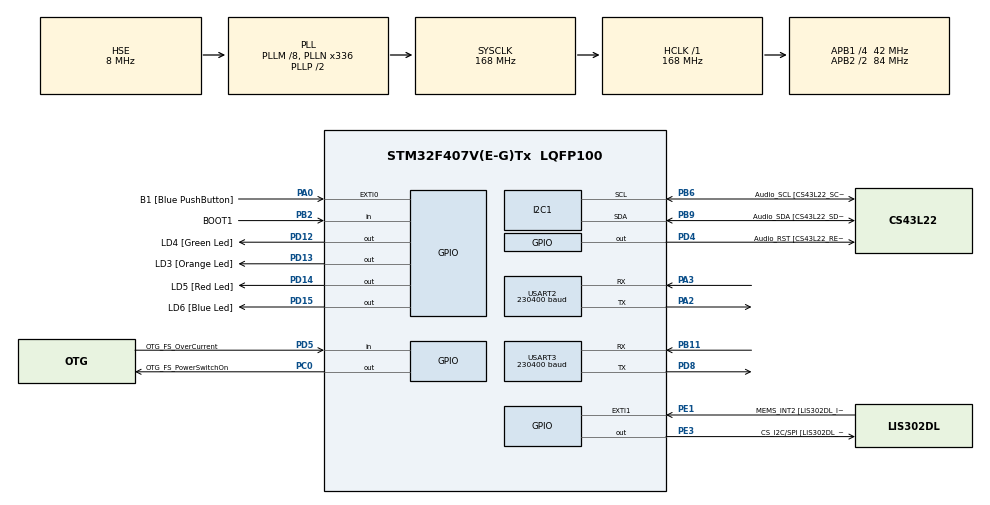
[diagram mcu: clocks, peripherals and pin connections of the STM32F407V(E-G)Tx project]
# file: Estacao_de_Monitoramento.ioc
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I2C1.I2C_Mode=I2C_Fast
Mcu.Family=STM32F4
Mcu.Name=STM32F407V(E-G)Tx
Mcu.Package=LQFP100
NVIC.EXTI0_IRQn=true\:0\:0\:false\:false\:true\:true\:true\:true
NVIC.PriorityGroup=NVIC_PRIORITYGROUP_0
NVIC.TIM2_IRQn=true\:0\:0\:false\:false\:true\:true\:true\:true
NVIC.USART2_IRQn=true\:0\:0\:false\:false\:true\:true\:true\:true
NVIC.USART3_IRQn=true\:0\:0\:false\:false\:true\:true\:true\:true
PA0-WKUP.GPIO_Label=B1 [Blue PushButton]
PA0-WKUP.GPIO_ModeDefaultEXTI=GPIO_MODE_IT_RISING
PA0-WKUP.GPIO_PuPd=GPIO_NOPULL
PA0-WKUP.Signal=GPXTI0
PA10.GPIO_Label=OTG_FS_ID
PA10.GPIO_Mode=GPIO_MODE_AF_PP
PA10.GPIO_PuPd=GPIO_NOPULL
PA10.GPIO_Speed=GPIO_SPEED_FREQ_LOW
PA10.Signal=USB_OTG_FS_ID
PA11.GPIO_Label=OTG_FS_DM
PA11.GPIO_Mode=GPIO_MODE_AF_PP
PA11.GPIO_PuPd=GPIO_NOPULL
PA11.GPIO_Speed=GPIO_SPEED_FREQ_LOW
PA11.Signal=USB_OTG_FS_DM
PA12.GPIO_Label=OTG_FS_DP
PA12.GPIO_Mode=GPIO_MODE_AF_PP
PA12.GPIO_PuPd=GPIO_NOPULL
PA12.GPIO_Speed=GPIO_SPEED_FREQ_LOW
PA12.Signal=USB_OTG_FS_DP
PA13.GPIO_Label=SWDIO
PA13.Mode=Serial_Wire
PA13.Signal=SYS_JTMS-SWDIO
PA14.GPIO_Label=SWCLK
PA14.Mode=Serial_Wire
PA14.Signal=SYS_JTCK-SWCLK
PA2.Mode=Asynchronous
PA2.Signal=USART2_TX
PA3.Mode=Asynchronous
PA3.Signal=USART2_RX
PA4.GPIO_Label=I2S3_WS [CS43L22_LRCK]
PA4.GPIO_Mode=GPIO_MODE_AF_PP
PA4.GPIO_PuPd=GPIO_NOPULL
PA4.GPIO_Speed=GPIO_SPEED_FREQ_LOW
PA4.Signal=I2S3_WS
PA5.GPIO_Label=SPI1_SCK [LIS302DL_SCL/SPC]
PA5.GPIO_Mode=GPIO_MODE_AF_PP
PA5.GPIO_PuPd=GPIO_NOPULL
PA5.GPIO_Speed=GPIO_SPEED_FREQ_LOW
PA5.Signal=SPI1_SCK
PA6.GPIO_Label=SPI1_MISO [LIS302DL_SDO]
PA6.GPIO_Mode=GPIO_MODE_AF_PP
PA6.GPIO_PuPd=GPIO_NOPULL
PA6.GPIO_Speed=GPIO_SPEED_FREQ_LOW
PA6.Signal=SPI1_MISO
PA7.GPIO_Label=SPI1_MOSI [LIS302DL_SDA/SDI/SDO]
PA7.GPIO_Mode=GPIO_MODE_AF_PP
PA7.GPIO_PuPd=GPIO_NOPULL
PA7.GPIO_Speed=GPIO_SPEED_FREQ_LOW
PA7.Signal=SPI1_MOSI
PA9.GPIO_Label=VBUS_FS
PA9.GPIO_Mode=GPIO_MODE_INPUT
PA9.GPIO_PuPd=GPIO_NOPULL
PA9.Signal=USB_OTG_FS_VBUS
PB10.GPIO_Label=CLK_IN [MP45DT02_CLK]
PB10.GPIO_Mode=GPIO_MODE_AF_PP
PB10.GPIO_PuPd=GPIO_NOPULL
PB10.GPIO_Speed=GPIO_SPEED_FREQ_LOW
PB10.Signal=I2S2_CK
PB11.Mode=Asynchronous
PB11.Signal=USART3_RX
PB2.GPIO_Label=BOOT1
PB2.GPIO_Mode=GPIO_MODE_INPUT
PB2.GPIO_PuPd=GPIO_NOPULL
PB2.Signal=GPIO_Input
PB3.GPIO_Label=SWO
PB3.Signal=SYS_JTDO-SWO
PB6.GPIO_Label=Audio_SCL [CS43L22_SCL]
PB6.GPIO_Mode=GPIO_MODE_AF_OD
PB6.GPIO_Pu=GPIO_PULLUP
PB6.GPIO_PuPd=GPIO_NOPULL
PB6.GPIO_Speed=GPIO_SPEED_FREQ_LOW
PB6.Mode=I2C
PB6.Signal=I2C1_SCL
PB9.GPIO_Label=Audio_SDA [CS43L22_SDA]
PB9.GPIO_Mode=GPIO_MODE_AF_OD
PB9.GPIO_Pu=GPIO_PULLUP
PB9.GPIO_PuPd=GPIO_NOPULL
PB9.GPIO_Speed=GPIO_SPEED_FREQ_LOW
PB9.Mode=I2C
PB9.Signal=I2C1_SDA
PC0.GPIO_Label=OTG_FS_PowerSwitchOn
PC0.GPIO_PuPd=GPIO_NOPULL
PC0.GPIO_Speed=GPIO_SPEED_FREQ_LOW
PC0.PinState=GPIO_PIN_SET
PC0.Signal=GPIO_Output
PC10.GPIO_Label=I2S3_SCK [CS43L22_SCLK]
PC10.GPIO_Mode=GPIO_MODE_AF_PP
PC10.GPIO_PuPd=GPIO_NOPULL
PC10.GPIO_Speed=GPIO_SPEED_FREQ_LOW
PC10.Signal=I2S3_CK
PC12.GPIO_Label=I2S3_SD [CS43L22_SDIN]
PC12.GPIO_Mode=GPIO_MODE_AF_PP
PC12.GPIO_PuPd=GPIO_NOPULL
PC12.GPIO_Speed=GPIO_SPEED_FREQ_LOW
PC12.Signal=I2S3_SD
PC14-OSC32_IN.GPIO_Label=PC14-OSC32_IN
PC14-OSC32_IN.Mode=LSE-External-Oscillator
PC14-OSC32_IN.Signal=RCC_OSC32_IN
PC15-OSC32_OUT.GPIO_Label=PC15-OSC32_OUT
PC15-OSC32_OUT.Mode=LSE-External-Oscillator
PC15-OSC32_OUT.Signal=RCC_OSC32_OUT
PC3.GPIO_Label=PDM_OUT [MP45DT02_DOUT]
PC3.GPIO_Mode=GPIO_MODE_AF_PP
PC3.GPIO_PuPd=GPIO_NOPULL
PC3.GPIO_Speed=GPIO_SPEED_FREQ_LOW
PC3.Signal=I2S2_SD
PC7.GPIO_Label=I2S3_MCK [CS43L22_MCLK]
PC7.GPIO_Mode=GPIO_MODE_AF_PP
PC7.GPIO_PuPd=GPIO_NOPULL
PC7.GPIO_Speed=GPIO_SPEED_FREQ_LOW
PC7.Signal=I2S3_MCK
PD12.GPIO_Label=LD4 [Green Led]
PD12.GPIO_PuPd=GPIO_NOPULL
PD12.GPIO_Speed=GPIO_SPEED_FREQ_LOW
PD12.Signal=GPIO_Output
PD13.GPIO_Label=LD3 [Orange Led]
PD13.GPIO_PuPd=GPIO_NOPULL
PD13.GPIO_Speed=GPIO_SPEED_FREQ_LOW
PD13.Signal=GPIO_Output
PD14.GPIO_Label=LD5 [Red Led]
PD14.GPIO_PuPd=GPIO_NOPULL
PD14.GPIO_Speed=GPIO_SPEED_FREQ_LOW
PD14.Signal=GPIO_Output
PD15.GPIO_Label=LD6 [Blue Led]
PD15.GPIO_PuPd=GPIO_NOPULL
PD15.GPIO_Speed=GPIO_SPEED_FREQ_LOW
PD15.Signal=GPIO_Output
PD4.GPIO_Label=Audio_RST [CS43L22_RESET]
PD4.GPIO_PuPd=GPIO_NOPULL
PD4.GPIO_Speed=GPIO_SPEED_FREQ_LOW
PD4.Signal=GPIO_Output
PD5.GPIO_Label=OTG_FS_OverCurrent
PD5.GPIO_Mode=GPIO_MODE_INPUT
PD5.GPIO_PuPd=GPIO_NOPULL
PD5.Signal=GPIO_Input
PD8.Mode=Asynchronous
PD8.Signal=USART3_TX
PE1.GPIO_Label=MEMS_INT2 [LIS302DL_INT2]
PE1.GPIO_ModeDefaultEXTI=GPIO_MODE_EVT_RISING
PE1.GPIO_PuPd=GPIO_NOPULL
PE1.Signal=GPXTI1
PE3.GPIO_Label=CS_I2C/SPI [LIS302DL_CS_I2C/SPI]
PE3.GPIO_PuPd=GPIO_NOPULL
PE3.GPIO_Speed=GPIO_SPEED_FREQ_LOW
PE3.Signal=GPIO_Output
PH0-OSC_IN.GPIO_Label=PH0-OSC_IN
PH0-OSC_IN.Mode=HSE-External-Oscillator
PH0-OSC_IN.Signal=RCC_OSC_IN
PH1-OSC_OUT.GPIO_Label=PH1-OSC_OUT
PH1-OSC_OUT.Mode=HSE-External-Oscillator
PH1-OSC_OUT.Signal=RCC_OSC_OUT
ProjectManager.HeapSize=0x200
ProjectManager.StackSize=0x400
ProjectManager.TargetToolchain=STM32CubeIDE
RCC.48MHZClocksFreq_Value=48000000
RCC.AHBFreq_Value=168000000
RCC.APB1CLKDivider=RCC_HCLK_DIV4
RCC.APB1Freq_Value=42000000
RCC.APB1TimFreq_Value=84000000
RCC.APB2CLKDivider=RCC_HCLK_DIV2
RCC.APB2Freq_Value=84000000
RCC.APB2TimFreq_Value=168000000
RCC.CortexFreq_Value=168000000
RCC.HCLKFreq_Value=168000000
RCC.HSE_VALUE=8000000
RCC.HSI_VALUE=16000000
RCC.PLLM=8
RCC.PLLN=336
RCC.PLLQ=7
RCC.PLLSourceVirtual=RCC_PLLSOURCE_HSE
RCC.SYSCLKFreq_VALUE=168000000
RCC.SYSCLKSource=RCC_SYSCLKSOURCE_PLLCLK
RCC.VCOOutputFreq_Value=336000000
TIM2.AutoReloadPreload=TIM_AUTORELOAD_PRELOAD_ENABLE
TIM2.Period=84000
TIM2.Prescaler=1000
USART2.BaudRate=230400
USART2.VirtualMode=VM_ASYNC
USART2.WordLength=WORDLENGTH_8B
USART3.BaudRate=230400
USART3.VirtualMode=VM_ASYNC
VP_TIM2_VS_ClockSourceINT.Mode=Internal
board=STM32F407G-DISC1

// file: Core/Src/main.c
/* USER CODE BEGIN Header */
/**
  ******************************************************************************
  * @file           : main.c
  * @brief          : Main program body
  ******************************************************************************
  * @attention
  *
  * Copyright (c) 2023 STMicroelectronics.
  * All rights reserved.
  *
  * This software is licensed under terms that can be found in the LICENSE file
  * in the root directory of this software component.
  * If no LICENSE file comes with this software, it is provided AS-IS.
  *
  ******************************************************************************
  */
/* USER CODE END Header */
#include "main.h"

/* USER CODE BEGIN Includes */
#include "mpu6050.h"
/* USER CODE END Includes */

I2C_HandleTypeDef hi2c1;

TIM_HandleTypeDef htim2;

UART_HandleTypeDef huart2;
UART_HandleTypeDef huart3;

/* USER CODE BEGIN PV */
uint32_t previousMillis = 0;
uint32_t currentMillis = 0;
MPU6050_t MPU6050;
uint8_t rx_uart2_buff[13] = {0}, rx_uart3_buff[13] = {0};
/* USER CODE END PV */

void SystemClock_Config(void);
static void MX_GPIO_Init(void);
static void MX_TIM2_Init(void);
static void MX_I2C1_Init(void);
static void MX_USART3_UART_Init(void);
static void MX_USART2_UART_Init(void);

/* USER CODE BEGIN 0 */
void HAL_TIM_PeriodElapsedCallback(TIM_HandleTypeDef* htim)
{
	Message_t msg;
	HAL_StatusTypeDef ret_val;
    HAL_GPIO_TogglePin(LD6_GPIO_Port, LD6_Pin);
	return;

    MPU6050_Read_Gyro(&hi2c1, &MPU6050);
    Prepare_Message(&msg, &MPU6050);
    Send_Message_via_UART(&msg, &huart2);
    Send_Message_via_UART(&msg, &huart3);

//    ret_val = Send_Message_via_UART(&msg, &huart3);
}

void HAL_GPIO_EXTI_Callback(uint16_t GPIO_Pin)
{
	Message_t msg = {0};
	HAL_StatusTypeDef ret_val;
	currentMillis = HAL_GetTick();
    if(GPIO_Pin == B1_Pin && (currentMillis - previousMillis > 250))
    {
    	HAL_GPIO_TogglePin(LD3_GPIO_Port, LD3_Pin); // Toggle The Output (LED) Pin
//    	MPU6050_Read_Temp(&hi2c1, &MPU6050);
		MPU6050_Read_Gyro(&hi2c1, &MPU6050);
		msg.id = 255;
		ret_val = Send_Message_via_UART(&msg, &huart2);
		ret_val = Send_Message_via_UART(&msg, &huart3);
		Prepare_Message(&msg, &MPU6050);
		ret_val = Send_Message_via_UART(&msg, &huart2);
    	previousMillis = currentMillis;
    }
}
void HAL_UART_RxCpltCallback(UART_HandleTypeDef *huart)
{
	//00001000
	Message_t msg;
	uint8_t id = 0;
//	HAL_UART_Receive_IT(huart, msg_buff, 13);

	if (huart == &huart2) {
		memcpy(&id, rx_uart2_buff, 1);
		if (id == 255) {
//				msg.id = 255;
//				Send_Message_via_UART(&msg, &huart3);
				MPU6050_Read_Gyro(&hi2c1, &MPU6050);
				Prepare_Message(&msg, &MPU6050);
				Send_Message_via_UART(&msg, &huart2);
			}

		HAL_UART_Transmit_IT(&huart3, rx_uart2_buff, 13);
		return;
	}

	memcpy(&id, rx_uart3_buff, 1);
	if (id == 255) { // Send msg back to requester
		MPU6050_Read_Gyro(&hi2c1, &MPU6050);
		Prepare_Message(&msg, &MPU6050);
		Send_Message_via_UART(&msg, &huart2);
	}

	HAL_UART_Transmit_IT(&huart2, rx_uart3_buff, 13);
	return;
}

//void HAL_UART_RxHalfCpltCallback(UART_HandleTypeDef *huart) {
//	int test = 0;
//}
/* USER CODE BEGIN 4 */

/* USER CODE END 4 */

/* USER CODE END 0 */

int main(void)
{

  /* MCU Configuration--------------------------------------------------------*/

  /* Reset of all peripherals, Initializes the Flash interface and the Systick. */
  HAL_Init();

  /* Configure the system clock */
  SystemClock_Config();

  /* Initialize all configured peripherals */
  MX_GPIO_Init();
  MX_TIM2_Init();
  MX_I2C1_Init();
  MX_USART3_UART_Init();
  MX_USART2_UART_Init();
  /* USER CODE BEGIN 2 */
  HAL_TIM_Base_Start_IT(&htim2);
  while (MPU6050_Init(&hi2c1) == 1);
  /* USER CODE END 2 */

  /* Infinite loop */
  /* USER CODE BEGIN WHILE */
  while (1)
  {

	  HAL_UART_Receive_IT(&huart2, rx_uart2_buff, 13);
	  HAL_UART_Receive_IT(&huart3, rx_uart3_buff, 13);
//	  uint8_t Test[] = "Hello World !!!\r\n"; //Data to send
//	  HAL_UART_Transmit(&huart2,Test,sizeof(Test),10);// Sending in normal mode
//	  HAL_Delay(1000);
    /* USER CODE END WHILE */

  }
}

void SystemClock_Config(void)
{
  RCC_OscInitTypeDef RCC_OscInitStruct = {0};
  RCC_ClkInitTypeDef RCC_ClkInitStruct = {0};

  /** Configure the main internal regulator output voltage
  */
  __HAL_RCC_PWR_CLK_ENABLE();
  __HAL_PWR_VOLTAGESCALING_CONFIG(PWR_REGULATOR_VOLTAGE_SCALE1);

  /** Initializes the RCC Oscillators according to the specified parameters
  * in the RCC_OscInitTypeDef structure.
  */
  RCC_OscInitStruct.OscillatorType = RCC_OSCILLATORTYPE_HSE;
  RCC_OscInitStruct.HSEState = RCC_HSE_ON;
  RCC_OscInitStruct.PLL.PLLState = RCC_PLL_ON;
  RCC_OscInitStruct.PLL.PLLSource = RCC_PLLSOURCE_HSE;
  RCC_OscInitStruct.PLL.PLLM = 8;
  RCC_OscInitStruct.PLL.PLLN = 336;
  RCC_OscInitStruct.PLL.PLLP = RCC_PLLP_DIV2;
  RCC_OscInitStruct.PLL.PLLQ = 7;
  if (HAL_RCC_OscConfig(&RCC_OscInitStruct) != HAL_OK)
  {
    Error_Handler();
  }

  /** Initializes the CPU, AHB and APB buses clocks
  */
  RCC_ClkInitStruct.ClockType = RCC_CLOCKTYPE_HCLK|RCC_CLOCKTYPE_SYSCLK
                              |RCC_CLOCKTYPE_PCLK1|RCC_CLOCKTYPE_PCLK2;
  RCC_ClkInitStruct.SYSCLKSource = RCC_SYSCLKSOURCE_PLLCLK;
  RCC_ClkInitStruct.AHBCLKDivider = RCC_SYSCLK_DIV1;
  RCC_ClkInitStruct.APB1CLKDivider = RCC_HCLK_DIV4;
  RCC_ClkInitStruct.APB2CLKDivider = RCC_HCLK_DIV2;

  if (HAL_RCC_ClockConfig(&RCC_ClkInitStruct, FLASH_LATENCY_5) != HAL_OK)
  {
    Error_Handler();
  }
}

static void MX_I2C1_Init(void)
{

  hi2c1.Instance = I2C1;
  hi2c1.Init.ClockSpeed = 400000;
  hi2c1.Init.DutyCycle = I2C_DUTYCYCLE_2;
  hi2c1.Init.OwnAddress1 = 0;
  hi2c1.Init.AddressingMode = I2C_ADDRESSINGMODE_7BIT;
  hi2c1.Init.DualAddressMode = I2C_DUALADDRESS_DISABLE;
  hi2c1.Init.OwnAddress2 = 0;
  hi2c1.Init.GeneralCallMode = I2C_GENERALCALL_DISABLE;
  hi2c1.Init.NoStretchMode = I2C_NOSTRETCH_DISABLE;
  if (HAL_I2C_Init(&hi2c1) != HAL_OK)
  {
    Error_Handler();
  }

}

static void MX_TIM2_Init(void)
{

  TIM_ClockConfigTypeDef sClockSourceConfig = {0};
  TIM_MasterConfigTypeDef sMasterConfig = {0};

  htim2.Instance = TIM2;
  htim2.Init.Prescaler = 1000;
  htim2.Init.CounterMode = TIM_COUNTERMODE_UP;
  htim2.Init.Period = 84000;
  htim2.Init.ClockDivision = TIM_CLOCKDIVISION_DIV1;
  htim2.Init.AutoReloadPreload = TIM_AUTORELOAD_PRELOAD_ENABLE;
  if (HAL_TIM_Base_Init(&htim2) != HAL_OK)
  {
    Error_Handler();
  }
  sClockSourceConfig.ClockSource = TIM_CLOCKSOURCE_INTERNAL;
  if (HAL_TIM_ConfigClockSource(&htim2, &sClockSourceConfig) != HAL_OK)
  {
    Error_Handler();
  }
  sMasterConfig.MasterOutputTrigger = TIM_TRGO_RESET;
  sMasterConfig.MasterSlaveMode = TIM_MASTERSLAVEMODE_DISABLE;
  if (HAL_TIMEx_MasterConfigSynchronization(&htim2, &sMasterConfig) != HAL_OK)
  {
    Error_Handler();
  }

}

static void MX_USART2_UART_Init(void)
{

  huart2.Instance = USART2;
  huart2.Init.BaudRate = 230400;
  huart2.Init.WordLength = UART_WORDLENGTH_8B;
  huart2.Init.StopBits = UART_STOPBITS_1;
  huart2.Init.Parity = UART_PARITY_NONE;
  huart2.Init.Mode = UART_MODE_TX_RX;
  huart2.Init.HwFlowCtl = UART_HWCONTROL_NONE;
  huart2.Init.OverSampling = UART_OVERSAMPLING_16;
  if (HAL_UART_Init(&huart2) != HAL_OK)
  {
    Error_Handler();
  }

}

static void MX_USART3_UART_Init(void)
{

  huart3.Instance = USART3;
  huart3.Init.BaudRate = 230400;
  huart3.Init.WordLength = UART_WORDLENGTH_8B;
  huart3.Init.StopBits = UART_STOPBITS_1;
  huart3.Init.Parity = UART_PARITY_NONE;
  huart3.Init.Mode = UART_MODE_TX_RX;
  huart3.Init.HwFlowCtl = UART_HWCONTROL_NONE;
  huart3.Init.OverSampling = UART_OVERSAMPLING_16;
  if (HAL_UART_Init(&huart3) != HAL_OK)
  {
    Error_Handler();
  }

}

static void MX_GPIO_Init(void)
{
  GPIO_InitTypeDef GPIO_InitStruct = {0};

  /* GPIO Ports Clock Enable */
  __HAL_RCC_GPIOE_CLK_ENABLE();
  __HAL_RCC_GPIOC_CLK_ENABLE();
  __HAL_RCC_GPIOH_CLK_ENABLE();
  __HAL_RCC_GPIOA_CLK_ENABLE();
  __HAL_RCC_GPIOB_CLK_ENABLE();
  __HAL_RCC_GPIOD_CLK_ENABLE();

  /*Configure GPIO pin Output Level */
  HAL_GPIO_WritePin(CS_I2C_SPI_GPIO_Port, CS_I2C_SPI_Pin, GPIO_PIN_RESET);

  /*Configure GPIO pin Output Level */
  HAL_GPIO_WritePin(OTG_FS_PowerSwitchOn_GPIO_Port, OTG_FS_PowerSwitchOn_Pin, GPIO_PIN_SET);

  /*Configure GPIO pin Output Level */
  HAL_GPIO_WritePin(GPIOD, LD4_Pin|LD3_Pin|LD5_Pin|LD6_Pin
                          |Audio_RST_Pin, GPIO_PIN_RESET);

  /*Configure GPIO pin : CS_I2C_SPI_Pin */
  GPIO_InitStruct.Pin = CS_I2C_SPI_Pin;
  GPIO_InitStruct.Mode = GPIO_MODE_OUTPUT_PP;
  GPIO_InitStruct.Pull = GPIO_NOPULL;
  GPIO_InitStruct.Speed = GPIO_SPEED_FREQ_LOW;
  HAL_GPIO_Init(CS_I2C_SPI_GPIO_Port, &GPIO_InitStruct);

  /*Configure GPIO pin : OTG_FS_PowerSwitchOn_Pin */
  GPIO_InitStruct.Pin = OTG_FS_PowerSwitchOn_Pin;
  GPIO_InitStruct.Mode = GPIO_MODE_OUTPUT_PP;
  GPIO_InitStruct.Pull = GPIO_NOPULL;
  GPIO_InitStruct.Speed = GPIO_SPEED_FREQ_LOW;
  HAL_GPIO_Init(OTG_FS_PowerSwitchOn_GPIO_Port, &GPIO_InitStruct);

  /*Configure GPIO pin : PDM_OUT_Pin */
  GPIO_InitStruct.Pin = PDM_OUT_Pin;
  GPIO_InitStruct.Mode = GPIO_MODE_AF_PP;
  GPIO_InitStruct.Pull = GPIO_NOPULL;
  GPIO_InitStruct.Speed = GPIO_SPEED_FREQ_LOW;
  GPIO_InitStruct.Alternate = GPIO_AF5_SPI2;
  HAL_GPIO_Init(PDM_OUT_GPIO_Port, &GPIO_InitStruct);

  /*Configure GPIO pin : B1_Pin */
  GPIO_InitStruct.Pin = B1_Pin;
  GPIO_InitStruct.Mode = GPIO_MODE_IT_RISING;
  GPIO_InitStruct.Pull = GPIO_NOPULL;
  HAL_GPIO_Init(B1_GPIO_Port, &GPIO_InitStruct);

  /*Configure GPIO pin : I2S3_WS_Pin */
  GPIO_InitStruct.Pin = I2S3_WS_Pin;
  GPIO_InitStruct.Mode = GPIO_MODE_AF_PP;
  GPIO_InitStruct.Pull = GPIO_NOPULL;
  GPIO_InitStruct.Speed = GPIO_SPEED_FREQ_LOW;
  GPIO_InitStruct.Alternate = GPIO_AF6_SPI3;
  HAL_GPIO_Init(I2S3_WS_GPIO_Port, &GPIO_InitStruct);

  /*Configure GPIO pins : SPI1_SCK_Pin SPI1_MISO_Pin SPI1_MOSI_Pin */
  GPIO_InitStruct.Pin = SPI1_SCK_Pin|SPI1_MISO_Pin|SPI1_MOSI_Pin;
  GPIO_InitStruct.Mode = GPIO_MODE_AF_PP;
  GPIO_InitStruct.Pull = GPIO_NOPULL;
  GPIO_InitStruct.Speed = GPIO_SPEED_FREQ_LOW;
  GPIO_InitStruct.Alternate = GPIO_AF5_SPI1;
  HAL_GPIO_Init(GPIOA, &GPIO_InitStruct);

  /*Configure GPIO pin : BOOT1_Pin */
  GPIO_InitStruct.Pin = BOOT1_Pin;
  GPIO_InitStruct.Mode = GPIO_MODE_INPUT;
  GPIO_InitStruct.Pull = GPIO_NOPULL;
  HAL_GPIO_Init(BOOT1_GPIO_Port, &GPIO_InitStruct);

  /*Configure GPIO pin : CLK_IN_Pin */
  GPIO_InitStruct.Pin = CLK_IN_Pin;
  GPIO_InitStruct.Mode = GPIO_MODE_AF_PP;
  GPIO_InitStruct.Pull = GPIO_NOPULL;
  GPIO_InitStruct.Speed = GPIO_SPEED_FREQ_LOW;
  GPIO_InitStruct.Alternate = GPIO_AF5_SPI2;
  HAL_GPIO_Init(CLK_IN_GPIO_Port, &GPIO_InitStruct);

  /*Configure GPIO pins : LD4_Pin LD3_Pin LD5_Pin LD6_Pin
                           Audio_RST_Pin */
  GPIO_InitStruct.Pin = LD4_Pin|LD3_Pin|LD5_Pin|LD6_Pin
                          |Audio_RST_Pin;
  GPIO_InitStruct.Mode = GPIO_MODE_OUTPUT_PP;
  GPIO_InitStruct.Pull = GPIO_NOPULL;
  GPIO_InitStruct.Speed = GPIO_SPEED_FREQ_LOW;
  HAL_GPIO_Init(GPIOD, &GPIO_InitStruct);

  /*Configure GPIO pins : I2S3_MCK_Pin I2S3_SCK_Pin I2S3_SD_Pin */
  GPIO_InitStruct.Pin = I2S3_MCK_Pin|I2S3_SCK_Pin|I2S3_SD_Pin;
  GPIO_InitStruct.Mode = GPIO_MODE_AF_PP;
  GPIO_InitStruct.Pull = GPIO_NOPULL;
  GPIO_InitStruct.Speed = GPIO_SPEED_FREQ_LOW;
  GPIO_InitStruct.Alternate = GPIO_AF6_SPI3;
  HAL_GPIO_Init(GPIOC, &GPIO_InitStruct);

  /*Configure GPIO pin : VBUS_FS_Pin */
  GPIO_InitStruct.Pin = VBUS_FS_Pin;
  GPIO_InitStruct.Mode = GPIO_MODE_INPUT;
  GPIO_InitStruct.Pull = GPIO_NOPULL;
  HAL_GPIO_Init(VBUS_FS_GPIO_Port, &GPIO_InitStruct);

  /*Configure GPIO pins : OTG_FS_ID_Pin OTG_FS_DM_Pin OTG_FS_DP_Pin */
  GPIO_InitStruct.Pin = OTG_FS_ID_Pin|OTG_FS_DM_Pin|OTG_FS_DP_Pin;
  GPIO_InitStruct.Mode = GPIO_MODE_AF_PP;
  GPIO_InitStruct.Pull = GPIO_NOPULL;
  GPIO_InitStruct.Speed = GPIO_SPEED_FREQ_LOW;
  GPIO_InitStruct.Alternate = GPIO_AF10_OTG_FS;
  HAL_GPIO_Init(GPIOA, &GPIO_InitStruct);

  /*Configure GPIO pin : OTG_FS_OverCurrent_Pin */
  GPIO_InitStruct.Pin = OTG_FS_OverCurrent_Pin;
  GPIO_InitStruct.Mode = GPIO_MODE_INPUT;
  GPIO_InitStruct.Pull = GPIO_NOPULL;
  HAL_GPIO_Init(OTG_FS_OverCurrent_GPIO_Port, &GPIO_InitStruct);

  /*Configure GPIO pin : MEMS_INT2_Pin */
  GPIO_InitStruct.Pin = MEMS_INT2_Pin;
  GPIO_InitStruct.Mode = GPIO_MODE_EVT_RISING;
  GPIO_InitStruct.Pull = GPIO_NOPULL;
  HAL_GPIO_Init(MEMS_INT2_GPIO_Port, &GPIO_InitStruct);

  /* EXTI interrupt init*/
  HAL_NVIC_SetPriority(EXTI0_IRQn, 0, 0);
  HAL_NVIC_EnableIRQ(EXTI0_IRQn);

}

void Error_Handler(void)
{
  __disable_irq();
  while (1)
  {
  }
}
